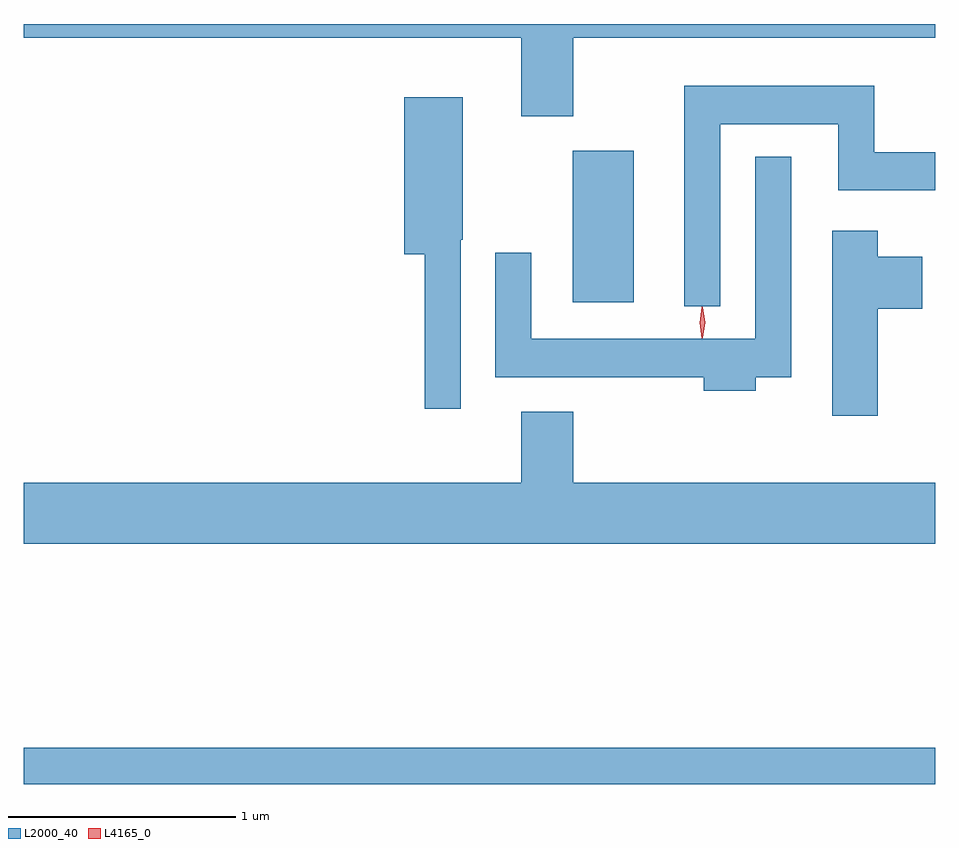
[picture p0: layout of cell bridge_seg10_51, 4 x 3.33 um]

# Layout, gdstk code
import gdstk
lib = gdstk.Library(unit=1e-6, precision=1e-09)
def R(c, l, rs):  # rectangles x0, y0, x1, y1
    for r in rs: c.add(gdstk.rectangle(r[:2], r[2:], *l))
def P(c, l, *ps):  # polygons
    for p in ps: c.add(gdstk.Polygon(p, *l))
L2000_40 = (2000, 40)
L4165_0 = (4165, 0)

bridge_seg10_51 = lib.new_cell('bridge_seg10_51')
R(bridge_seg10_51, L2000_40, [(1586.667,2177.241,1590.667,2177.399), (1589.076,2179.356,1589.344,2180.019)])
P(bridge_seg10_51, L2000_40, [(1589.079,2180.516),(1590.667,2180.516),(1590.667,2180.576),(1586.667,2180.576),(1586.667,2180.516),(1588.851,2180.516),(1588.851,2180.171),(1589.079,2180.171)],
  [(1589.724,2180.136),(1590.241,2180.136),(1590.241,2179.846),(1590.667,2179.846),(1590.667,2180.014),(1590.399,2180.014),(1590.399,2180.304),(1589.566,2180.304),(1589.566,2179.338),(1589.724,2179.338)],
  [(1588.584,2179.63),(1588.594,2179.63),(1588.594,2180.254),(1588.336,2180.254),(1588.336,2179.566),(1588.426,2179.566),(1588.426,2178.888),(1588.584,2178.888)],
  [(1589.879,2179.026),(1590.034,2179.026),(1590.034,2179.993),(1589.876,2179.993),(1589.876,2179.194),(1588.894,2179.194),(1588.894,2179.573),(1588.736,2179.573),(1588.736,2179.026),(1589.651,2179.026),(1589.651,2178.966),(1589.879,2178.966)],
  [(1590.414,2179.326),(1590.609,2179.326),(1590.609,2179.554),(1590.414,2179.554),(1590.414,2179.669),(1590.216,2179.669),(1590.216,2178.856),(1590.414,2178.856)],
  [(1590.667,2178.564),(1589.079,2178.564),(1589.079,2178.874),(1588.851,2178.874),(1588.851,2178.564),(1586.667,2178.564),(1586.667,2178.296),(1590.667,2178.296)])
P(bridge_seg10_51, L4165_0, [(1589.643,2179.197),(1589.634,2179.266),(1589.643,2179.336),(1589.644,2179.336),(1589.644,2179.336),(1589.654,2179.266),(1589.644,2179.197),(1589.644,2179.197)],
  [(1589.646,2179.2),(1589.637,2179.266),(1589.646,2179.332),(1589.646,2179.333),(1589.647,2179.332),(1589.657,2179.266),(1589.647,2179.2),(1589.647,2179.2)])

lib.write_gds('bridge_seg10_51.gds')
